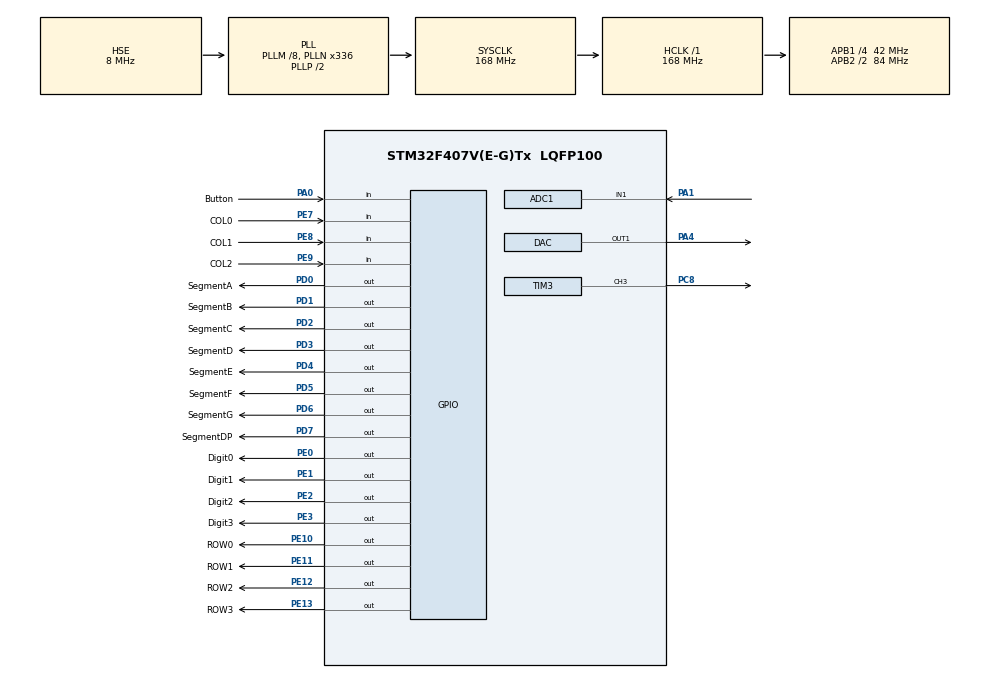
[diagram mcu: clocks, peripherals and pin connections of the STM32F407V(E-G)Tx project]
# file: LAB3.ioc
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ADC1.Channel-0\#ChannelRegularConversion=ADC_CHANNEL_1
ADC1.ClockPrescaler=ADC_CLOCK_SYNC_PCLK_DIV4
ADC1.ContinuousConvMode=DISABLE
ADC1.DMAContinuousRequests=ENABLE
ADC1.DataAlign=ADC_DATAALIGN_RIGHT
ADC1.DiscontinuousConvMode=DISABLE
ADC1.EOCSelection=ADC_EOC_SINGLE_CONV
ADC1.EnableAnalogWatchDog=false
ADC1.ExternalTrigConv=ADC_EXTERNALTRIGCONV_T2_TRGO
ADC1.ExternalTrigConvEdge=ADC_EXTERNALTRIGCONVEDGE_RISING
ADC1.InjNumberOfConversion=0
ADC1.NbrOfConversion=1
ADC1.NbrOfConversionFlag=1
ADC1.Rank-0\#ChannelRegularConversion=1
ADC1.Resolution=ADC_RESOLUTION_10B
ADC1.SamplingTime-0\#ChannelRegularConversion=ADC_SAMPLETIME_84CYCLES
ADC1.ScanConvMode=DISABLE
ADC1.master=1
Dma.ADC1.0.Direction=DMA_PERIPH_TO_MEMORY
Dma.ADC1.0.FIFOMode=DMA_FIFOMODE_DISABLE
Dma.ADC1.0.Instance=DMA2_Stream0
Dma.ADC1.0.MemDataAlignment=DMA_MDATAALIGN_WORD
Dma.ADC1.0.MemInc=DMA_MINC_ENABLE
Dma.ADC1.0.Mode=DMA_CIRCULAR
Dma.ADC1.0.PeriphDataAlignment=DMA_PDATAALIGN_WORD
Dma.ADC1.0.PeriphInc=DMA_PINC_DISABLE
Dma.ADC1.0.Priority=DMA_PRIORITY_LOW
Dma.Request0=ADC1
Mcu.Family=STM32F4
Mcu.Name=STM32F407V(E-G)Tx
Mcu.Package=LQFP100
NVIC.ADC_IRQn=true\:0\:0\:false\:false\:true\:true
NVIC.DMA2_Stream0_IRQn=true\:0\:0\:false\:false\:true\:false
NVIC.PriorityGroup=NVIC_PRIORITYGROUP_4
PA0-WKUP.GPIO_Label=Button
PA0-WKUP.GPIO_PuPd=GPIO_PULLDOWN
PA0-WKUP.Signal=GPIO_Input
PA1.Signal=ADCx_IN1
PA4.Signal=COMP_DAC1_group
PC8.Signal=S_TIM3_CH3
PD0.GPIO_Label=SegmentA
PD0.Signal=GPIO_Output
PD1.GPIO_Label=SegmentB
PD1.Signal=GPIO_Output
PD2.GPIO_Label=SegmentC
PD2.Signal=GPIO_Output
PD3.GPIO_Label=SegmentD
PD3.Signal=GPIO_Output
PD4.GPIO_Label=SegmentE
PD4.Signal=GPIO_Output
PD5.GPIO_Label=SegmentF
PD5.Signal=GPIO_Output
PD6.GPIO_Label=SegmentG
PD6.Signal=GPIO_Output
PD7.GPIO_Label=SegmentDP
PD7.Signal=GPIO_Output
PE0.GPIO_Label=Digit0
PE0.Signal=GPIO_Output
PE1.GPIO_Label=Digit1
PE1.Signal=GPIO_Output
PE10.GPIO_Label=ROW0
PE10.GPIO_PuPd=GPIO_PULLDOWN
PE10.GPIO_Speed=GPIO_SPEED_FREQ_LOW
PE10.Signal=GPIO_Output
PE11.GPIO_Label=ROW1
PE11.GPIO_PuPd=GPIO_PULLDOWN
PE11.GPIO_Speed=GPIO_SPEED_FREQ_LOW
PE11.Signal=GPIO_Output
PE12.GPIO_Label=ROW2
PE12.GPIO_PuPd=GPIO_PULLDOWN
PE12.GPIO_Speed=GPIO_SPEED_FREQ_LOW
PE12.Signal=GPIO_Output
PE13.GPIO_Label=ROW3
PE13.GPIO_PuPd=GPIO_PULLDOWN
PE13.GPIO_Speed=GPIO_SPEED_FREQ_LOW
PE13.Signal=GPIO_Output
PE2.GPIO_Label=Digit2
PE2.Signal=GPIO_Output
PE3.GPIO_Label=Digit3
PE3.Signal=GPIO_Output
PE7.GPIO_Label=COL0
PE7.GPIO_PuPd=GPIO_PULLDOWN
PE7.Signal=GPIO_Input
PE8.GPIO_Label=COL1
PE8.GPIO_PuPd=GPIO_PULLDOWN
PE8.Signal=GPIO_Input
PE9.GPIO_Label=COL2
PE9.GPIO_PuPd=GPIO_PULLDOWN
PE9.Signal=GPIO_Input
PH0-OSC_IN.Mode=HSE-External-Oscillator
PH0-OSC_IN.Signal=RCC_OSC_IN
PH1-OSC_OUT.Mode=HSE-External-Oscillator
PH1-OSC_OUT.Signal=RCC_OSC_OUT
ProjectManager.HeapSize=0x200
ProjectManager.StackSize=0x400
ProjectManager.TargetToolchain=MDK-ARM V5
RCC.48MHZClocksFreq_Value=84000000
RCC.AHBFreq_Value=168000000
RCC.APB1CLKDivider=RCC_HCLK_DIV4
RCC.APB1Freq_Value=42000000
RCC.APB1TimFreq_Value=84000000
RCC.APB2CLKDivider=RCC_HCLK_DIV2
RCC.APB2Freq_Value=84000000
RCC.APB2TimFreq_Value=168000000
RCC.CortexFreq_Value=168000000
RCC.HCLKFreq_Value=168000000
RCC.HSE_VALUE=8000000
RCC.HSI_VALUE=16000000
RCC.LSE_VALUE=32768
RCC.PLLM=8
RCC.PLLN=336
RCC.PLLSourceVirtual=RCC_PLLSOURCE_HSE
RCC.SYSCLKFreq_VALUE=168000000
RCC.SYSCLKSource=RCC_SYSCLKSOURCE_PLLCLK
RCC.VCOOutputFreq_Value=336000000
SH.ADCx_IN1.0=ADC1_IN1,IN1
SH.COMP_DAC1_group.0=DAC_OUT1,DAC_OUT1
SH.S_TIM3_CH3.0=TIM3_CH3,PWM Generation3 CH3
TIM2.Period=9
TIM2.Prescaler=839
TIM2.TIM_MasterOutputTrigger=TIM_TRGO_UPDATE
TIM3.Channel-PWM\ Generation3\ CH3=TIM_CHANNEL_3
TIM3.Period=1000
TIM3.Prescaler=7
TIM3.Pulse-PWM\ Generation3\ CH3=10
VP_TIM2_VS_ClockSourceINT.Mode=Internal
board=LAB3

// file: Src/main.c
/**
  ******************************************************************************
  * @file           : main.c
  * @brief          : Main program body
  ******************************************************************************
  ** This notice applies to any and all portions of this file
  * that are not between comment pairs USER CODE BEGIN and
  * USER CODE END. Other portions of this file, whether
  * inserted by the user or by software development tools
  * are owned by their respective copyright owners.
  *
  * COPYRIGHT(c) 2018 STMicroelectronics
  *
  * Redistribution and use in source and binary forms, with or without modification,
  * are permitted provided that the following conditions are met:
  *   1. Redistributions of source code must retain the above copyright notice,
  *      this list of conditions and the following disclaimer.
  *   2. Redistributions in binary form must reproduce the above copyright notice,
  *      this list of conditions and the following disclaimer in the documentation
  *      and/or other materials provided with the distribution.
  *   3. Neither the name of STMicroelectronics nor the names of its contributors
  *      may be used to endorse or promote products derived from this software
  *      without specific prior written permission.
  *
  * THIS SOFTWARE IS PROVIDED BY THE COPYRIGHT HOLDERS AND CONTRIBUTORS "AS IS"
  * AND ANY EXPRESS OR IMPLIED WARRANTIES, INCLUDING, BUT NOT LIMITED TO, THE
  * IMPLIED WARRANTIES OF MERCHANTABILITY AND FITNESS FOR A PARTICULAR PURPOSE ARE
  * DISCLAIMED. IN NO EVENT SHALL THE COPYRIGHT HOLDER OR CONTRIBUTORS BE LIABLE
  * FOR ANY DIRECT, INDIRECT, INCIDENTAL, SPECIAL, EXEMPLARY, OR CONSEQUENTIAL
  * DAMAGES (INCLUDING, BUT NOT LIMITED TO, PROCUREMENT OF SUBSTITUTE GOODS OR
  * SERVICES; LOSS OF USE, DATA, OR PROFITS; OR BUSINESS INTERRUPTION) HOWEVER
  * CAUSED AND ON ANY THEORY OF LIABILITY, WHETHER IN CONTRACT, STRICT LIABILITY,
  * OR TORT (INCLUDING NEGLIGENCE OR OTHERWISE) ARISING IN ANY WAY OUT OF THE USE
  * OF THIS SOFTWARE, EVEN IF ADVISED OF THE POSSIBILITY OF SUCH DAMAGE.
  *
  ******************************************************************************
  */
#include "main.h"
#include "stm32f4xx_hal.h"

/* USER CODE BEGIN Includes */
#include "button.h"
#include "display.h"
#include "filter.h"
#include "keypad.h"
/* USER CODE END Includes */

ADC_HandleTypeDef hadc1;
DMA_HandleTypeDef hdma_adc1;

DAC_HandleTypeDef hdac;

TIM_HandleTypeDef htim2;
TIM_HandleTypeDef htim3;

/* USER CODE BEGIN PV */
/* Private variables ---------------------------------------------------------*/
volatile int systick_flag = 0;
volatile int current_phase = INPUT_PHASE;
volatile int current_display_mode = DISPLAY_MODE_RMS;
volatile int voltage_digits[2];
volatile float display_rms_value;
volatile float display_max_value;
volatile float display_min_value;
volatile float desired_output_voltage;
volatile float rms_value;
volatile float max_value;
volatile float min_value;
uint32_t adc_readings[1];
int systick_counter = 0;
int pwm = 0;
int adc_counter = 0;
int pulse_width = 50;
uint32_t adc_readings[1];
int last_phase = INPUT_PHASE;
/* USER CODE END PV */

void SystemClock_Config(void);
static void MX_GPIO_Init(void);
static void MX_DMA_Init(void);
static void MX_ADC1_Init(void);
static void MX_DAC_Init(void);
static void MX_TIM3_Init(void);
static void MX_TIM2_Init(void);

void HAL_TIM_MspPostInit(TIM_HandleTypeDef *htim);

/* USER CODE BEGIN PFP */
/* Private function prototypes -----------------------------------------------*/
void adc_callback(void);
void pwm_feedback_control(void);
void enter_low_power_mode(void);
void start_peripherals(void);
void stop_peripherals(void);
void check_sleep_phase_transition(void);
/* USER CODE END PFP */

/* USER CODE BEGIN 0 */
/**
  * @brief  Updated the pulse width to obtain the desired output voltage.
  * @retval None
  */
void pwm_feedback_control(void)
{
	float diff = rms_value - desired_output_voltage;
	int pulse_delta = 0;
	if (diff >= 1 || diff <= -1)
	{
		pulse_delta = 20;
	}
	else if (diff >= 0.5f || diff <= -0.5f)
	{
		pulse_delta = 15;
	}
	else if (diff >= 0.1f || diff <= -0.1f)
	{
		pulse_delta = 10;
	}
	else if (diff >= 0.05f || diff <= -0.05f)
	{
		pulse_delta = 5;
	}
	else if (diff >= 0.01f || diff <= -0.01f)
	{
		pulse_delta = 2;
	}
	else if (diff >= 0.005f || diff <= -0.005f)
	{
		pulse_delta = 1;
	}
	if (diff > 0)
	{
		if (pulse_width >= pulse_delta)
		{
			pulse_width -= pulse_delta;
		}
		__HAL_TIM_SET_COMPARE(&htim3, TIM_CHANNEL_3, pulse_width);
	}
	else if (diff < 0)
	{
		if (pulse_width <= TIM3_PERIOD - pulse_delta)
		{
			pulse_width += pulse_delta;
		}
		__HAL_TIM_SET_COMPARE(&htim3, TIM_CHANNEL_3, pulse_width);
	}
}

/**
  * @brief  Callback when the ADC is finished converting a value.
  * @retval None
  */
void adc_callback(void) // 10 kHz (every 0.1 ms)
{
	if (current_phase == DISPLAY_PHASE)
	{
		adc_counter = (adc_counter + 1) % 1000000;

		// Every 0.1 ms
		update_raw_and_filtered_data(adc_readings[0]);

		// Every 1 ms
		if (adc_counter % 10 == 0)
		{
			update_rms_and_running_max_min();
			pwm_feedback_control();
		}

		// Every 50 ms
		if (adc_counter % 500 == 0)
		{
			update_max_and_min();
			display_rms_value = rms_value;
			display_max_value = max_value;
			display_min_value = min_value;
		}
	}
}

/**
  * @brief  Enter low power mode (during SLEEP phase).
  * @retval None
  */
void enter_low_power_mode(void)
{
	disable_display();
	stop_peripherals();
}

/**
  * @brief  Start all peripherals.
  * @retval None
  */
void start_peripherals(void)
{
	// Start ADC
	HAL_ADC_Start(&hadc1);
	HAL_ADC_Start_DMA(&hadc1, adc_readings, 1);
	HAL_ADC_Start_IT(&hadc1);

	// Start TIM 2 for ADC readings
	HAL_TIM_Base_Start(&htim2);

	// Start TIM 3 for PWM
	HAL_TIM_PWM_Start(&htim3, TIM_CHANNEL_3);
}

/**
  * @brief  Stop all peripherals.
  * @retval None
  */
void stop_peripherals(void)
{
	// Disable ADC
	HAL_ADC_Stop(&hadc1);
	HAL_ADC_Stop_DMA(&hadc1);
	HAL_ADC_Stop_IT(&hadc1);

	// Disable TIM 2
	HAL_TIM_Base_Stop(&htim2);

	// Disable PWM
	HAL_TIM_PWM_Stop(&htim3, TIM_CHANNEL_3);
}

/**
  * @brief  Check if a transition has occurred to/from SLEEP phase. This
	*					causes a switch to/from low power mode, respectively.
  * @retval None
  */
void check_sleep_phase_transition(void)
{
	if (current_phase == SLEEP_PHASE && last_phase != SLEEP_PHASE)
	{
		enter_low_power_mode();
	}
	else if (current_phase != SLEEP_PHASE && last_phase == SLEEP_PHASE)
	{
		start_peripherals();
	}
	last_phase = current_phase;
}
/* USER CODE END 0 */

int main(void)
{

  /* MCU Configuration----------------------------------------------------------*/

  /* Reset of all peripherals, Initializes the Flash interface and the Systick. */
  HAL_Init();

  /* Configure the system clock */
  SystemClock_Config();

  /* USER CODE BEGIN SysInit */
	HAL_SYSTICK_Config(HAL_RCC_GetHCLKFreq() / 200); // Set SysTick interrupt frequency to 200 Hz (5 ms)
  /* USER CODE END SysInit */

  /* Initialize all configured peripherals */
  MX_GPIO_Init();
  MX_DMA_Init();
  MX_ADC1_Init();
  MX_DAC_Init();
  MX_TIM2_Init();
  MX_TIM3_Init();
  /* USER CODE BEGIN 2 */
	start_peripherals();
  /* USER CODE END 2 */

  /* Infinite loop */
  /* USER CODE BEGIN WHILE */
  while (1)
  {
		// Every 5 ms
		if (systick_flag)
		{
			systick_flag = 0;
			read_button_debounce();
			display_current_number();
			read_keypad_debounce();
			check_sleep_phase_transition();
		}
  /* USER CODE END WHILE */

  }

}

void SystemClock_Config(void)
{

  RCC_OscInitTypeDef RCC_OscInitStruct;
  RCC_ClkInitTypeDef RCC_ClkInitStruct;

    /**Configure the main internal regulator output voltage
    */
  __HAL_RCC_PWR_CLK_ENABLE();

  __HAL_PWR_VOLTAGESCALING_CONFIG(PWR_REGULATOR_VOLTAGE_SCALE1);

    /**Initializes the CPU, AHB and APB busses clocks
    */
  RCC_OscInitStruct.OscillatorType = RCC_OSCILLATORTYPE_HSE;
  RCC_OscInitStruct.HSEState = RCC_HSE_ON;
  RCC_OscInitStruct.PLL.PLLState = RCC_PLL_ON;
  RCC_OscInitStruct.PLL.PLLSource = RCC_PLLSOURCE_HSE;
  RCC_OscInitStruct.PLL.PLLM = 8;
  RCC_OscInitStruct.PLL.PLLN = 336;
  RCC_OscInitStruct.PLL.PLLP = RCC_PLLP_DIV2;
  RCC_OscInitStruct.PLL.PLLQ = 4;
  if (HAL_RCC_OscConfig(&RCC_OscInitStruct) != HAL_OK)
  {
    _Error_Handler(__FILE__, __LINE__);
  }

    /**Initializes the CPU, AHB and APB busses clocks
    */
  RCC_ClkInitStruct.ClockType = RCC_CLOCKTYPE_HCLK|RCC_CLOCKTYPE_SYSCLK
                              |RCC_CLOCKTYPE_PCLK1|RCC_CLOCKTYPE_PCLK2;
  RCC_ClkInitStruct.SYSCLKSource = RCC_SYSCLKSOURCE_PLLCLK;
  RCC_ClkInitStruct.AHBCLKDivider = RCC_SYSCLK_DIV1;
  RCC_ClkInitStruct.APB1CLKDivider = RCC_HCLK_DIV4;
  RCC_ClkInitStruct.APB2CLKDivider = RCC_HCLK_DIV2;

  if (HAL_RCC_ClockConfig(&RCC_ClkInitStruct, FLASH_LATENCY_5) != HAL_OK)
  {
    _Error_Handler(__FILE__, __LINE__);
  }

    /**Configure the Systick interrupt time
    */
  HAL_SYSTICK_Config(HAL_RCC_GetHCLKFreq()/1000);

    /**Configure the Systick
    */
  HAL_SYSTICK_CLKSourceConfig(SYSTICK_CLKSOURCE_HCLK);

  /* SysTick_IRQn interrupt configuration */
  HAL_NVIC_SetPriority(SysTick_IRQn, 0, 0);
}

/* ADC1 init function */
static void MX_ADC1_Init(void)
{

  ADC_ChannelConfTypeDef sConfig;

    /**Configure the global features of the ADC (Clock, Resolution, Data Alignment and number of conversion)
    */
  hadc1.Instance = ADC1;
  hadc1.Init.ClockPrescaler = ADC_CLOCK_SYNC_PCLK_DIV4;
  hadc1.Init.Resolution = ADC_RESOLUTION_10B;
  hadc1.Init.ScanConvMode = DISABLE;
  hadc1.Init.ContinuousConvMode = DISABLE;
  hadc1.Init.DiscontinuousConvMode = DISABLE;
  hadc1.Init.ExternalTrigConvEdge = ADC_EXTERNALTRIGCONVEDGE_RISING;
  hadc1.Init.ExternalTrigConv = ADC_EXTERNALTRIGCONV_T2_TRGO;
  hadc1.Init.DataAlign = ADC_DATAALIGN_RIGHT;
  hadc1.Init.NbrOfConversion = 1;
  hadc1.Init.DMAContinuousRequests = ENABLE;
  hadc1.Init.EOCSelection = ADC_EOC_SINGLE_CONV;
  if (HAL_ADC_Init(&hadc1) != HAL_OK)
  {
    _Error_Handler(__FILE__, __LINE__);
  }

    /**Configure for the selected ADC regular channel its corresponding rank in the sequencer and its sample time.
    */
  sConfig.Channel = ADC_CHANNEL_1;
  sConfig.Rank = 1;
  sConfig.SamplingTime = ADC_SAMPLETIME_84CYCLES;
  if (HAL_ADC_ConfigChannel(&hadc1, &sConfig) != HAL_OK)
  {
    _Error_Handler(__FILE__, __LINE__);
  }

}

/* DAC init function */
static void MX_DAC_Init(void)
{

  DAC_ChannelConfTypeDef sConfig;

    /**DAC Initialization
    */
  hdac.Instance = DAC;
  if (HAL_DAC_Init(&hdac) != HAL_OK)
  {
    _Error_Handler(__FILE__, __LINE__);
  }

    /**DAC channel OUT1 config
    */
  sConfig.DAC_Trigger = DAC_TRIGGER_NONE;
  sConfig.DAC_OutputBuffer = DAC_OUTPUTBUFFER_ENABLE;
  if (HAL_DAC_ConfigChannel(&hdac, &sConfig, DAC_CHANNEL_1) != HAL_OK)
  {
    _Error_Handler(__FILE__, __LINE__);
  }

}

/* TIM2 init function */
static void MX_TIM2_Init(void)
{

  TIM_ClockConfigTypeDef sClockSourceConfig;
  TIM_MasterConfigTypeDef sMasterConfig;

  htim2.Instance = TIM2;
  htim2.Init.Prescaler = 839;
  htim2.Init.CounterMode = TIM_COUNTERMODE_UP;
  htim2.Init.Period = 9;
  htim2.Init.ClockDivision = TIM_CLOCKDIVISION_DIV1;
  if (HAL_TIM_Base_Init(&htim2) != HAL_OK)
  {
    _Error_Handler(__FILE__, __LINE__);
  }

  sClockSourceConfig.ClockSource = TIM_CLOCKSOURCE_INTERNAL;
  if (HAL_TIM_ConfigClockSource(&htim2, &sClockSourceConfig) != HAL_OK)
  {
    _Error_Handler(__FILE__, __LINE__);
  }

  sMasterConfig.MasterOutputTrigger = TIM_TRGO_UPDATE;
  sMasterConfig.MasterSlaveMode = TIM_MASTERSLAVEMODE_DISABLE;
  if (HAL_TIMEx_MasterConfigSynchronization(&htim2, &sMasterConfig) != HAL_OK)
  {
    _Error_Handler(__FILE__, __LINE__);
  }

}

/* TIM3 init function */
static void MX_TIM3_Init(void)
{

  TIM_MasterConfigTypeDef sMasterConfig;
  TIM_OC_InitTypeDef sConfigOC;

  htim3.Instance = TIM3;
  htim3.Init.Prescaler = 0;
  htim3.Init.CounterMode = TIM_COUNTERMODE_UP;
  htim3.Init.Period = TIM3_PERIOD;
  htim3.Init.ClockDivision = TIM_CLOCKDIVISION_DIV1;
  if (HAL_TIM_PWM_Init(&htim3) != HAL_OK)
  {
    _Error_Handler(__FILE__, __LINE__);
  }

  sMasterConfig.MasterOutputTrigger = TIM_TRGO_RESET;
  sMasterConfig.MasterSlaveMode = TIM_MASTERSLAVEMODE_DISABLE;
  if (HAL_TIMEx_MasterConfigSynchronization(&htim3, &sMasterConfig) != HAL_OK)
  {
    _Error_Handler(__FILE__, __LINE__);
  }

  sConfigOC.OCMode = TIM_OCMODE_PWM1;
  sConfigOC.Pulse = pulse_width;
  sConfigOC.OCPolarity = TIM_OCPOLARITY_HIGH;
  sConfigOC.OCFastMode = TIM_OCFAST_DISABLE;
  if (HAL_TIM_PWM_ConfigChannel(&htim3, &sConfigOC, TIM_CHANNEL_3) != HAL_OK)
  {
    _Error_Handler(__FILE__, __LINE__);
  }

  HAL_TIM_MspPostInit(&htim3);

}

static void MX_DMA_Init(void)
{
  /* DMA controller clock enable */
  __HAL_RCC_DMA2_CLK_ENABLE();

  /* DMA interrupt init */
  /* DMA2_Stream0_IRQn interrupt configuration */
  HAL_NVIC_SetPriority(DMA2_Stream0_IRQn, 0, 0);
  HAL_NVIC_EnableIRQ(DMA2_Stream0_IRQn);

}

/** Configure pins as
        * Analog
        * Input
        * Output
        * EVENT_OUT
        * EXTI
*/
static void MX_GPIO_Init(void)
{

  GPIO_InitTypeDef GPIO_InitStruct;

  /* GPIO Ports Clock Enable */
  __HAL_RCC_GPIOE_CLK_ENABLE();
  __HAL_RCC_GPIOH_CLK_ENABLE();
  __HAL_RCC_GPIOA_CLK_ENABLE();
  __HAL_RCC_GPIOC_CLK_ENABLE();
  __HAL_RCC_GPIOD_CLK_ENABLE();

  /*Configure GPIO pin Output Level */
  HAL_GPIO_WritePin(GPIOE, Digit2_Pin|Digit3_Pin|ROW0_Pin|ROW1_Pin
                          |ROW2_Pin|ROW3_Pin|Digit0_Pin|Digit1_Pin, GPIO_PIN_RESET);

  /*Configure GPIO pin Output Level */
  HAL_GPIO_WritePin(GPIOD, SegmentA_Pin|SegmentB_Pin|SegmentC_Pin|SegmentD_Pin
                          |SegmentE_Pin|SegmentF_Pin|SegmentG_Pin|SegmentDP_Pin, GPIO_PIN_RESET);

  /*Configure GPIO pins : Digit2_Pin Digit3_Pin Digit0_Pin Digit1_Pin */
  GPIO_InitStruct.Pin = Digit2_Pin|Digit3_Pin|Digit0_Pin|Digit1_Pin;
  GPIO_InitStruct.Mode = GPIO_MODE_OUTPUT_PP;
  GPIO_InitStruct.Pull = GPIO_NOPULL;
  GPIO_InitStruct.Speed = GPIO_SPEED_FREQ_LOW;
  HAL_GPIO_Init(GPIOE, &GPIO_InitStruct);

  /*Configure GPIO pin : Button_Pin */
  GPIO_InitStruct.Pin = Button_Pin;
  GPIO_InitStruct.Mode = GPIO_MODE_INPUT;
  GPIO_InitStruct.Pull = GPIO_PULLDOWN;
  HAL_GPIO_Init(Button_GPIO_Port, &GPIO_InitStruct);

  /*Configure GPIO pins : COL0_Pin COL1_Pin COL2_Pin */
  GPIO_InitStruct.Pin = COL0_Pin|COL1_Pin|COL2_Pin;
  GPIO_InitStruct.Mode = GPIO_MODE_INPUT;
  GPIO_InitStruct.Pull = GPIO_PULLDOWN;
  HAL_GPIO_Init(GPIOE, &GPIO_InitStruct);

  /*Configure GPIO pins : ROW0_Pin ROW1_Pin ROW2_Pin ROW3_Pin */
  GPIO_InitStruct.Pin = ROW0_Pin|ROW1_Pin|ROW2_Pin|ROW3_Pin;
  GPIO_InitStruct.Mode = GPIO_MODE_OUTPUT_PP;
  GPIO_InitStruct.Pull = GPIO_PULLDOWN;
  GPIO_InitStruct.Speed = GPIO_SPEED_FREQ_LOW;
  HAL_GPIO_Init(GPIOE, &GPIO_InitStruct);

  /*Configure GPIO pins : SegmentA_Pin SegmentB_Pin SegmentC_Pin SegmentD_Pin
                           SegmentE_Pin SegmentF_Pin SegmentG_Pin SegmentDP_Pin */
  GPIO_InitStruct.Pin = SegmentA_Pin|SegmentB_Pin|SegmentC_Pin|SegmentD_Pin
                          |SegmentE_Pin|SegmentF_Pin|SegmentG_Pin|SegmentDP_Pin;
  GPIO_InitStruct.Mode = GPIO_MODE_OUTPUT_PP;
  GPIO_InitStruct.Pull = GPIO_NOPULL;
  GPIO_InitStruct.Speed = GPIO_SPEED_FREQ_LOW;
  HAL_GPIO_Init(GPIOD, &GPIO_InitStruct);

}

/* USER CODE BEGIN 4 */
void HAL_ADC_ConvCpltCallback(ADC_HandleTypeDef* hadc) // 10 kHz (every 0.1 ms)
{
	adc_callback();
}
/* USER CODE END 4 */

void _Error_Handler(char *file, int line)
{
  while(1)
  {
  }
}

/************************ (C) COPYRIGHT STMicroelectronics *****END OF FILE****/
